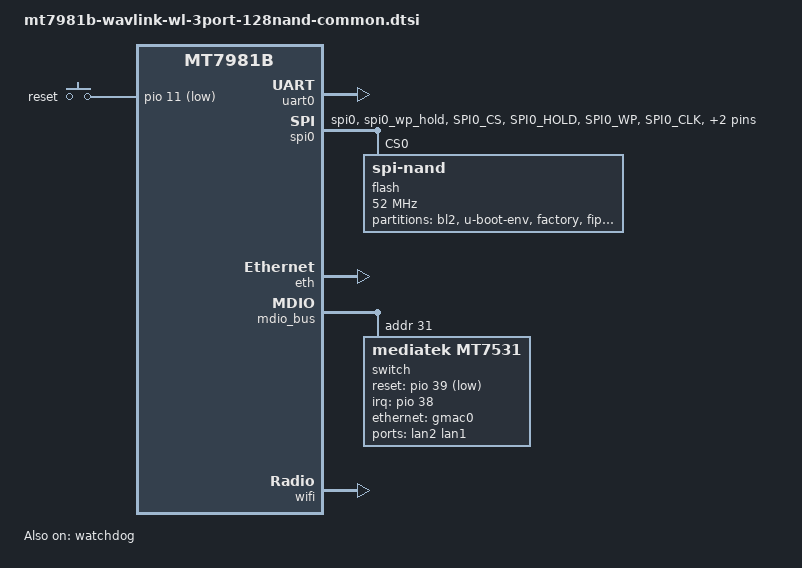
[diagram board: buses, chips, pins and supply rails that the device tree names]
// SPDX-License-Identifier: (GPL-2.0 OR MIT)

/dts-v1/;

#include <dt-bindings/pinctrl/mt65xx.h>

#include "mt7981b.dtsi"

/ {
	chosen {
		stdout-path = "serial0:115200n8";
	};

	gpio-keys {
		compatible = "gpio-keys";

		button-reset {
			label = "reset";
			linux,code = <KEY_RESTART>;
			gpios = <&pio 11 GPIO_ACTIVE_LOW>;
		};
	};
};

&uart0 {
	status = "okay";
};

&watchdog {
	status = "okay";
};

&pio {
	spi0_flash_pins: spi0-pins {
		mux {
			function = "spi";
			groups = "spi0", "spi0_wp_hold";
		};

		conf-pu {
			pins = "SPI0_CS", "SPI0_HOLD", "SPI0_WP";
			drive-strength = <MTK_DRIVE_8mA>;
			bias-pull-up = <MTK_PUPD_SET_R1R0_11>;
		};

		conf-pd {
			pins = "SPI0_CLK", "SPI0_MOSI", "SPI0_MISO";
			drive-strength = <MTK_DRIVE_8mA>;
			bias-pull-down = <MTK_PUPD_SET_R1R0_11>;
		};
	};
};

&spi0 {
	pinctrl-names = "default";
	pinctrl-0 = <&spi0_flash_pins>;
	status = "okay";

	flash@0 {
		#address-cells = <1>;
		#size-cells = <1>;

		compatible = "spi-nand";
		reg = <0>;

		spi-max-frequency = <52000000>;
		spi-tx-bus-width = <4>;
		spi-rx-bus-width = <4>;

		partitions {
			compatible = "fixed-partitions";
			#address-cells = <1>;
			#size-cells = <1>;

			partition@0 {
				label = "bl2";
				reg = <0x0 0x100000>;
				read-only;
			};

			partition@100000 {
				label = "u-boot-env";
				reg = <0x100000 0x80000>;
				read-only;
			};

			factory: partition@180000 {
				label = "factory";
				reg = <0x180000 0x200000>;
				read-only;

				nvmem-layout {
					compatible = "fixed-layout";
					#address-cells = <1>;
					#size-cells = <1>;
					
					eeprom_factory: eeprom@0 {
						reg = <0x0 0x1000>;
					};					

					macaddr_factory_4: macaddr@4 {
						reg = <0x4 0x6>;
					};
				};
			};

			partition@380000 {
				label = "fip";
				reg = <0x380000 0x200000>;
				read-only;
			};

			partition@580000 {
				label = "ubi";
				reg = <0x580000 0x4000000>;
			};

			partition@4580000 {
				label = "hw";
				reg = <0x4580000 0x80000>;

				nvmem-layout {
					compatible = "fixed-layout";
					#address-cells = <1>;
					#size-cells = <1>;

					macaddr_hw_44e: macaddr@44e {
						compatible = "mac-base";
						reg = <0x44e 0x11>;
						#nvmem-cell-cells = <1>;
					};
				};
			};
		};
	};
};

&eth {
	status = "okay";

	gmac0: mac@0 {
		compatible = "mediatek,eth-mac";
		reg = <0>;
		phy-mode = "2500base-x";

		nvmem-cell-names = "mac-address";
		nvmem-cells = <&macaddr_hw_44e 0>;

		fixed-link {
			speed = <2500>;
			full-duplex;
			pause;
		};
	};

	gmac1: mac@1 {
		compatible = "mediatek,eth-mac";
		reg = <1>;
		phy-mode = "gmii";
		phy-handle = <&int_gbe_phy>;

		nvmem-cell-names = "mac-address";
		nvmem-cells = <&macaddr_hw_44e 1>;
	};
};

&mdio_bus {
	switch: switch@1f {
		compatible = "mediatek,mt7531";
		reg = <31>;
		reset-gpios = <&pio 39 GPIO_ACTIVE_LOW>;
		interrupt-controller;
		#interrupt-cells = <1>;
		interrupt-parent = <&pio>;
		interrupts = <38 IRQ_TYPE_LEVEL_HIGH>;
	};
};

&switch {
	ports {
		#address-cells = <1>;
		#size-cells = <0>;

		port@1 {
			reg = <1>;
			label = "lan2";
		};

		port@2 {
			reg = <2>;
			label = "lan1";
		};

		port@6 {
			reg = <6>;
			ethernet = <&gmac0>;
			phy-mode = "2500base-x";

			fixed-link {
				speed = <2500>;
				full-duplex;
				pause;
			};
		};
	};
};

&wifi {
	status = "okay";
	nvmem-cells = <&eeprom_factory 0>;
	nvmem-cell-names = "eeprom";
};
